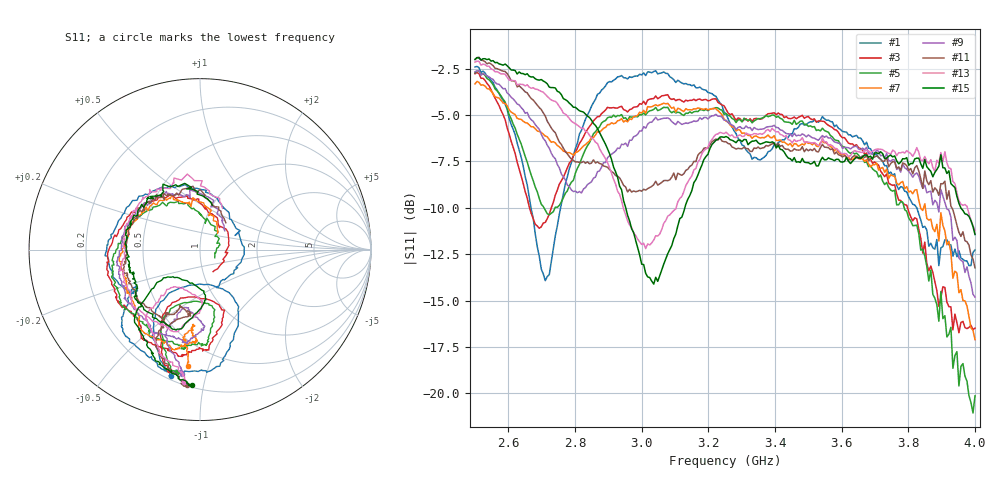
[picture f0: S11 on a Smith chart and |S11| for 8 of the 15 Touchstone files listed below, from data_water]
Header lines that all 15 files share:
# MHz S MA R 50
!  freq  S11
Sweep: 2.5 GHz to 4 GHz
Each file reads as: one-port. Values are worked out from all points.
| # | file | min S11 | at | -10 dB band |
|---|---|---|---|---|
| 1 | water_0_0.s1p | -13.9 dB | 2.711 GHz | over 174.6 MHz wide |
| 2 | water_0_1.s1p | -14.7 dB | 2.705 GHz | over 162.3 MHz wide |
| 3 | water_1_0.s1p | -16.7 dB | 3.952 GHz | over 202.3 MHz wide |
| 4 | water_2_0.s1p | -29.0 dB | 3.952 GHz | over 240.9 MHz wide |
| 5 | water_2_1.s1p | -21.1 dB | 3.994 GHz | over 212.3 MHz wide |
| 6 | water_3_0.s1p | -19.0 dB | 4 GHz | over 197.5 MHz wide |
| 7 | water_3_1.s1p | -17.1 dB | 4 GHz | over 148.9 MHz wide |
| 8 | water_4_0.s1p | -14.4 dB | 4 GHz | over 84.73 MHz wide |
| 9 | water_4_1.s1p | -14.8 dB | 4 GHz | over 85.38 MHz wide |
| 10 | water_5_0.s1p | -14.6 dB | 4 GHz | over 87.55 MHz wide |
| 11 | water_5_1.s1p | -13.2 dB | 4 GHz | over 69.52 MHz wide |
| 12 | water_6_0.s1p | -12.5 dB | 3 GHz | 158.1 MHz wide |
| 13 | water_6_1.s1p | -12.2 dB | 3.012 GHz | 158.5 MHz wide |
| 14 | water_7_0.s1p | -11.5 dB | 3.012 GHz | 158.2 MHz wide |
| 15 | water_7_1.s1p | -14.1 dB | 3.036 GHz | 177.2 MHz wide |
